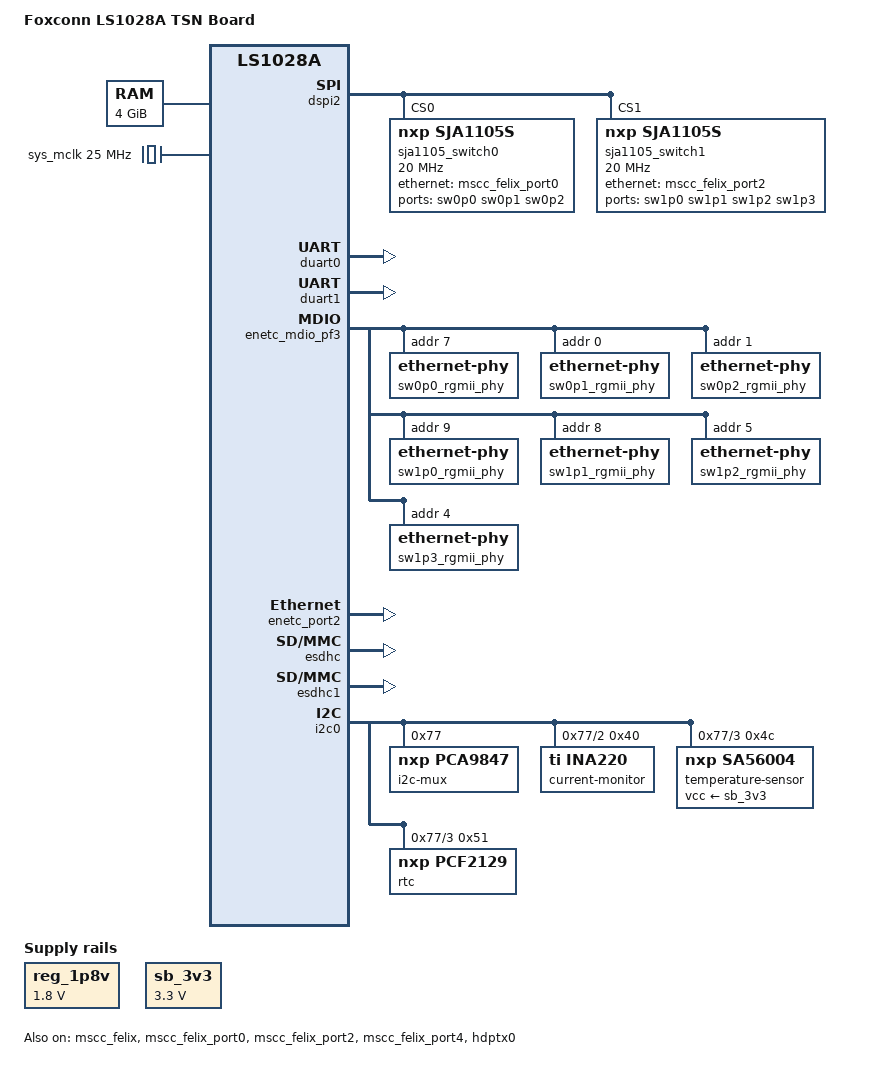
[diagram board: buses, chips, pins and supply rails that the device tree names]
// SPDX-License-Identifier: (GPL-2.0+ OR MIT)
/*
 * Device Tree file for Foxconn LS1028A TSN Board.
 *
 * Copyright 2020-2022 NXP
 *
 * Wes Li <wes.li@nxp.com>
 * Vladimir Oltean <vladimir.oltean@nxp.com>
 */

/dts-v1/;
#include "fsl-ls1028a.dtsi"

/ {
	model = "Foxconn LS1028A TSN Board";
	compatible = "fsl,ls1028a-rdb", "fsl,ls1028a";

	aliases {
		crypto = &crypto;
		serial0 = &duart0;
		serial1 = &duart1;
	};

	chosen {
		stdout-path = "serial0:115200n8";
	};

	memory@80000000 {
		device_type = "memory";
		reg = <0x0 0x80000000 0x1 0x0000000>;
	};

	sys_mclk: clock-mclk {
		compatible = "fixed-clock";
		#clock-cells = <0>;
		clock-frequency = <25000000>;
	};

	reg_1p8v: regulator-1p8v {
		compatible = "regulator-fixed";
		regulator-name = "1P8V";
		regulator-min-microvolt = <1800000>;
		regulator-max-microvolt = <1800000>;
		regulator-always-on;
	};

	sb_3v3: regulator-sb3v3 {
		compatible = "regulator-fixed";
		regulator-name = "3v3_vbus";
		regulator-min-microvolt = <3300000>;
		regulator-max-microvolt = <3300000>;
		regulator-boot-on;
		regulator-always-on;
	};
};

&dspi2 {
	bus-num = <2>;
	status = "okay";

	sja1105_switch0: ethernet-switch@0 {
		reg = <0x0>;
		#address-cells = <1>;
		#size-cells = <0>;
		compatible = "nxp,sja1105s";
		dsa,member = <1 1>;
		/* 20 MHz */
		spi-max-frequency = <20000000>;
		/* Sample data on trailing clock edge */
		spi-cpha;
		/* SPI controller settings for SJA1105 timing requirements */
		fsl,spi-cs-sck-delay = <1000>;
		fsl,spi-sck-cs-delay = <1000>;

		ports {
			#address-cells = <1>;
			#size-cells = <0>;

			port@0 {
				label = "sw0p0";
				phy-handle = <&sw0p0_rgmii_phy>;
				phy-mode = "rgmii-id";
				reg = <0>;
			};

			port@1 {
				label = "sw0p1";
				phy-handle = <&sw0p1_rgmii_phy>;
				phy-mode = "rgmii-id";
				reg = <1>;
			};

			port@2 {
				label = "sw0p2";
				phy-handle = <&sw0p2_rgmii_phy>;
				phy-mode = "rgmii-id";
				reg = <2>;
			};

			port@3 {
				reg = <3>;
				status = "disabled";
			};

			port@4 {
				ethernet = <&mscc_felix_port0>;
				phy-mode = "sgmii";
				reg = <4>;

				fixed-link {
					speed = <1000>;
					full-duplex;
				};
			};
		};
	};

	/* Daughter card 1 */
	sja1105_switch1: ethernet-switch@1 {
		reg = <0x1>;
		#address-cells = <1>;
		#size-cells = <0>;
		compatible = "nxp,sja1105s";
		dsa,member = <2 2>;
		/* 20 MHz */
		spi-max-frequency = <20000000>;
		spi-cpha;
		fsl,spi-cs-sck-delay = <1000>;
		fsl,spi-sck-cs-delay = <1000>;

		ports {
			#address-cells = <1>;
			#size-cells = <0>;

			port@0 {
				label = "sw1p0";
				phy-handle = <&sw1p0_rgmii_phy>;
				phy-mode = "rgmii-id";
				reg = <0>;
			};

			port@1 {
				label = "sw1p1";
				phy-handle = <&sw1p1_rgmii_phy>;
				phy-mode = "rgmii-id";
				reg = <1>;
			};

			port@2 {
				label = "sw1p2";
				phy-handle = <&sw1p2_rgmii_phy>;
				phy-mode = "rgmii-id";
				reg = <2>;
			};

			port@3 {
				label = "sw1p3";
				phy-handle = <&sw1p3_rgmii_phy>;
				phy-mode = "rgmii-id";
				reg = <3>;
			};

			port@4 {
				ethernet = <&mscc_felix_port2>;
				phy-mode = "sgmii";
				reg = <4>;

				fixed-link {
					speed = <1000>;
					full-duplex;
				};
			};
		};
	};
};

&duart0 {
	status = "okay";
};

&duart1 {
	status = "okay";
};

&enetc_mdio_pf3 {
	status = "okay";

	/*
	 * PHYs on main board
	 */

	/* RTL8211FSI */
	sw0p0_rgmii_phy: ethernet-phy@7 {
		reg = <0x7>;
	};

	/* VSC8502 SGMII dual PHY */
	sw0p1_rgmii_phy: ethernet-phy@0 {
		reg = <0x0>;
	};

	sw0p2_rgmii_phy: ethernet-phy@1 {
		reg = <0x1>;
	};

	/*
	 * PHYs on daughter board 1
	 */

	/* RTL8211FSI */
	sw1p0_rgmii_phy: ethernet-phy@9 {
		reg = <0x9>;
	};

	sw1p1_rgmii_phy: ethernet-phy@8 {
		reg = <0x8>;
	};

	/* VSC8502 RGMII dual PHY */
	sw1p2_rgmii_phy: ethernet-phy@5 {
		reg = <0x5>;
	};

	sw1p3_rgmii_phy: ethernet-phy@4 {
		reg = <0x4>;
	};
};

&enetc_port0 {
	status = "disabled";
};

&enetc_port1 {
	status = "disabled";
};

&enetc_port2 {
	status = "okay";
};

&esdhc {
	cap-sd-highspeed;
	status = "okay";
};

&esdhc1 {
	mmc-hs200-1_8v;
	status = "okay";
};

&i2c0 {
	status = "okay";

	i2c-mux@77 {
		compatible = "nxp,pca9847";
		reg = <0x77>;
		#address-cells = <1>;
		#size-cells = <0>;

		i2c@2 {
			#address-cells = <1>;
			#size-cells = <0>;
			reg = <0x02>;

			current-monitor@40 {
				compatible = "ti,ina220";
				reg = <0x40>;
				shunt-resistor = <500>;
			};
		};

		i2c@3 {
			#address-cells = <1>;
			#size-cells = <0>;
			reg = <0x3>;

			temperature-sensor@4c {
				compatible = "nxp,sa56004";
				reg = <0x4c>;
				vcc-supply = <&sb_3v3>;
			};

			rtc@51 {
				compatible = "nxp,pcf2129";
				reg = <0x51>;
			};
		};
	};
};

&mscc_felix {
	status = "okay";
};

/* Master for SJA1105 on main board */
&mscc_felix_port0 {
	phy-mode = "sgmii";
	status = "okay";

	fixed-link {
		speed = <1000>;
		full-duplex;
	};
};

/* Master for SJA1105 on daughter card 1 */
&mscc_felix_port2 {
	phy-mode = "sgmii";
	status = "okay";

	fixed-link {
		speed = <1000>;
		full-duplex;
	};
};

&mscc_felix_port4 {
	ethernet = <&enetc_port2>;
	status = "okay";
};

&hdptx0 {
	lane-mapping = <0x4e>;
	status = "okay";
};
